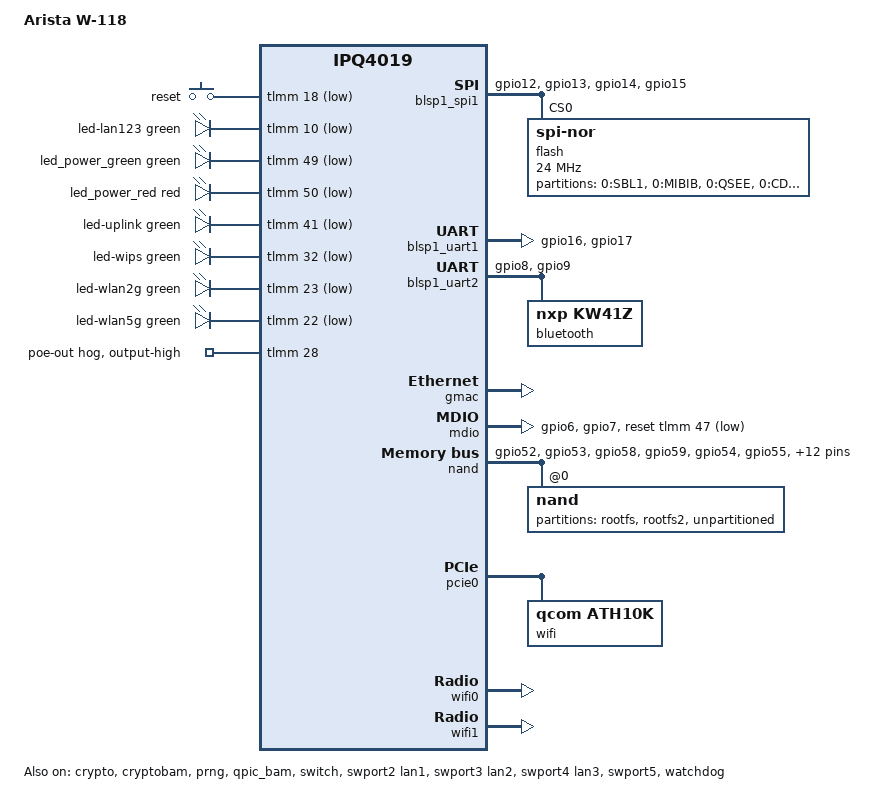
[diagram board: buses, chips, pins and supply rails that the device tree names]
// SPDX-License-Identifier: GPL-2.0-or-later OR MIT

#include "qcom/qcom-ipq4019.dtsi"
#include <dt-bindings/gpio/gpio.h>
#include <dt-bindings/input/input.h>
#include <dt-bindings/leds/common.h>
#include <dt-bindings/soc/qcom,tcsr.h>

/ {
	model = "Arista W-118";
	compatible = "arista,w-118";

	aliases {
		label-mac-device = &gmac;
		led-boot = &led_power_green;
		led-failsafe = &led_power_red;
		led-running = &led_power_green;
		led-upgrade = &led_power_red;
	};

	keys {
		compatible = "gpio-keys";

		button-reset {
			label = "reset";
			gpios = <&tlmm 18 GPIO_ACTIVE_LOW>;
			linux,code = <KEY_RESTART>;
		};
	};

	leds {
		compatible = "gpio-leds";

		led-lan123 {
			gpios = <&tlmm 10 GPIO_ACTIVE_LOW>;
			color = <LED_COLOR_ID_GREEN>;
			function = LED_FUNCTION_LAN;
		};

		led_power_green: led-power-green {
			gpios = <&tlmm 49 GPIO_ACTIVE_LOW>;
			color = <LED_COLOR_ID_GREEN>;
			function = LED_FUNCTION_POWER;
		};

		led_power_red: led-power-red {
			gpios = <&tlmm 50 GPIO_ACTIVE_LOW>;
			color = <LED_COLOR_ID_RED>;
			function = LED_FUNCTION_POWER;
			panic-indicator;
		};

		led-uplink {
			gpios = <&tlmm 41 GPIO_ACTIVE_LOW>;
			color = <LED_COLOR_ID_GREEN>;
			function = LED_FUNCTION_WAN;
		};

		led-wips {
			gpios = <&tlmm 32 GPIO_ACTIVE_LOW>;
			color = <LED_COLOR_ID_GREEN>;
			function = LED_FUNCTION_WLAN;
			linux,default-trigger = "phy0tpt";
		};

		led-wlan2g {
			gpios = <&tlmm 23 GPIO_ACTIVE_LOW>;
			color = <LED_COLOR_ID_GREEN>;
			function = LED_FUNCTION_WLAN_2GHZ;
			linux,default-trigger = "phy1tpt";
		};

		led-wlan5g {
			gpios = <&tlmm 22 GPIO_ACTIVE_LOW>;
			color = <LED_COLOR_ID_GREEN>;
			function = LED_FUNCTION_WLAN_5GHZ;
			linux,default-trigger = "phy2tpt";
		};
	};

	soc {
		tcsr@1949000 {
			compatible = "qcom,tcsr";
			reg = <0x1949000 0x100>;
			qcom,wifi_glb_cfg = <TCSR_WIFI_GLB_CFG>;
		};

		tcsr@194b000 {
			compatible = "qcom,tcsr";
			reg = <0x194b000 0x100>;
			qcom,usb-hsphy-mode-select = <TCSR_USB_HSPHY_HOST_MODE>;
		};

		ess_tcsr@1953000 {
			compatible = "qcom,tcsr";
			reg = <0x1953000 0x1000>;
			qcom,ess-interface-select = <TCSR_ESS_PSGMII>;
		};

		tcsr@1957000 {
			compatible = "qcom,tcsr";
			reg = <0x1957000 0x100>;
			qcom,wifi_noc_memtype_m0_m2 = <TCSR_WIFI_NOC_MEMTYPE_M0_M2>;
		};
	};
};

&blsp_dma {
	status = "okay";
};

&blsp1_spi1 {
	status = "okay";

	pinctrl-0 = <&spi1_pins>;
	pinctrl-names = "default";

	flash@0 {
		compatible = "jedec,spi-nor";
		reg = <0>;
		spi-max-frequency = <24000000>;
		#address-cells = <1>;
		#size-cells = <1>;

		partitions {
			compatible = "fixed-partitions";
			#address-cells = <1>;
			#size-cells = <1>;

			partition@0 {
				label = "0:SBL1";
				reg = <0x0000000 0x0040000>;
				read-only;
			};

			partition@40000 {
				label = "0:MIBIB";
				reg = <0x0040000 0x0020000>;
				read-only;
			};

			partition@60000 {
				label = "0:QSEE";
				reg = <0x0060000 0x0060000>;
				read-only;
			};

			partition@c0000 {
				label = "0:CDT";
				reg = <0x00c0000 0x0010000>;
				read-only;
			};

			partition@d0000 {
				label = "0:DDRPARAMS";
				reg = <0x00d0000 0x0010000>;
				read-only;
			};

			partition@e0000 {
				label = "0:APPSBL";
				reg = <0x00e0000 0x0080000>;
				read-only;
			};

			partition@160000 {
				label = "0:APPSBLENV";
				reg = <0x0160000 0x0010000>;
			};

			partition@170000 {
				label = "0:ART";
				reg = <0x0170000 0x0010000>;
				read-only;

				nvmem-layout {
					compatible = "fixed-layout";
					#address-cells = <1>;
					#size-cells = <1>;

					macaddr_art_0: macaddr@0 {
						reg = <0x0 0x6>;
					};

					macaddr_art_6: macaddr@6 {
						reg = <0x6 0x6>;
					};

					serial-number@30 {
						reg = <0x30 0xd>;
					};

					precal_art_1000: precal@1000 {
						reg = <0x1000 0x2f20>;
					};

					precal_art_5000: precal@5000 {
						reg = <0x5000 0x2f20>;
					};
				};
			};

			partition@180000 {
				label = "0:HLOS";
				reg = <0x0180000 0x0500000>;
			};

			partition@680000 {
				label = "0:HLOS1";
				reg = <0x0680000 0x0500000>;
			};

			partition@b80000 {
				label = "0:UCONFIG";
				reg = <0x0b80000 0x0400000>;
			};

			partition@f80000 {
				label = "PANIC";
				reg = <0x0f80000 0x0010000>;
			};

			partition@f90000 {
				label = "RESERVED:0";
				reg = <0x0f90000 0x0010000>;
			};

			partition@fa0000 {
				label = "RESERVED:1";
				reg = <0x0fa0000 0x1060000>;
			};
		};
	};
};

&blsp1_uart1 {
	status = "okay";

	pinctrl-0 = <&uart1_pins>;
	pinctrl-names = "default";
};

&blsp1_uart2 {
	status = "okay";

	pinctrl-0 = <&uart2_pins>;
	pinctrl-names = "default";

	/* NXP Kinetis KW41Z MCU, no driver exists */
	bluetooth {
		compatible = "nxp,kw41z";
	};
};

&crypto {
	status = "okay";
};

&cryptobam {
	status = "okay";
};

&gmac {
	status = "okay";

	nvmem-cell-names = "mac-address";
	nvmem-cells = <&macaddr_art_6>;
};

&mdio {
	status = "okay";

	pinctrl-0 = <&mdio_pins>;
	pinctrl-names = "default";
	reset-gpios = <&tlmm 47 GPIO_ACTIVE_LOW>;
	reset-delay-us = <2000>;
};

&nand {
	status = "okay";

	pinctrl-0 = <&nand_pins>;
	pinctrl-names = "default";

	nand@0 {
		partitions {
			compatible = "fixed-partitions";
			#address-cells = <1>;
			#size-cells = <1>;

			partition@0 {
				label = "rootfs";
				reg = <0x0 0x4000000>;
			};

			partition@4000000 {
				label = "rootfs2";
				reg = <0x4000000 0x4000000>;
			};

			partition@8000000 {
				label = "unpartitioned";
				reg = <0x8000000 0x8000000>;
			};
		};
	};
};

&pcie0 {
	status = "okay";

	perst-gpios = <&tlmm 48 GPIO_ACTIVE_LOW>;
	wake-gpios = <&tlmm 46 GPIO_ACTIVE_LOW>;

	bridge@0,0 {
		reg = <0x00000000 0 0 0 0>;
		#address-cells = <3>;
		#size-cells = <2>;
		ranges;

		wifi@1,0 {
			compatible = "qcom,ath10k";
			reg = <0x00010000 0 0 0 0>;
		};
	};
};

&prng {
	status = "okay";
};

&qpic_bam {
	status = "okay";
};

&switch {
	status = "okay";
};

&swport2 {
	status = "okay";

	label = "lan1";
};

&swport3 {
	status = "okay";

	label = "lan2";
	nvmem-cell-names = "mac-address";
	nvmem-cells = <&macaddr_art_6 (-1)>;
};

&swport4 {
	status = "okay";

	label = "lan3";
	nvmem-cell-names = "mac-address";
	nvmem-cells = <&macaddr_art_6 (-2)>;
};

&swport5 {
	status = "okay";

//	label = "uplink";
	nvmem-cell-names = "mac-address";
	nvmem-cells = <&macaddr_art_0>;
};

&tlmm {
	mdio_pins: mdio-pinmux {
		mux-mdio {
			pins = "gpio6";
			function = "mdio";
			bias-pull-up;
		};

		mux-mdc {
			pins = "gpio7";
			function = "mdc";
			bias-pull-up;
		};
	};

	nand_pins: nand-pinmux {
		pullups {
			pins = "gpio52", "gpio53", "gpio58", "gpio59";
			function = "qpic";
			bias-pull-up;
		};

		pulldowns {
			pins =	"gpio54", "gpio55", "gpio56", "gpio57",
				"gpio60", "gpio61", "gpio62", "gpio63",
				"gpio64", "gpio65", "gpio66", "gpio67",
				"gpio68", "gpio69";
			function = "qpic";
			bias-pull-down;
		};
	};

	spi1_pins: spi0-pinmux {
		mux {
			pins = "gpio12", "gpio13", "gpio14", "gpio15";
			function = "blsp_spi0";
			bias-disable;
		};
	};

	uart1_pins: uart0-pinmux {
		mux {
			pins = "gpio16", "gpio17";
			function = "blsp_uart0";
			bias-disable;
		};
	};

	uart2_pins: uart1-pinmux {
		mux {
			pins = "gpio8", "gpio9";
			function = "blsp_uart1";
			bias-disable;
		};
	};

	/*
	 *          GPIO 43
	 *       ______|______
	 *      |             |
	 * HIGH = DC      LOW = POE-IN
	 *                    |
	 *                 GPIO 28
	 *              ______|______
	 *             |             |
	 *        HIGH = POE-OUT ON  |
	 *                           |
	 *                       LOW = POE-OUT OFF
	 */
	poe-out-hog {
		gpio-hog;
		gpios = <28 GPIO_ACTIVE_HIGH>;
		output-high;
		line-name = "poe-out";
	};
};

&watchdog {
	status = "okay";
};

&wifi0 {
	status = "okay";

	nvmem-cells = <&precal_art_1000>;
	nvmem-cell-names = "pre-calibration";
};

&wifi1 {
	status = "okay";

	nvmem-cells = <&precal_art_5000>;
	nvmem-cell-names = "pre-calibration";
};
